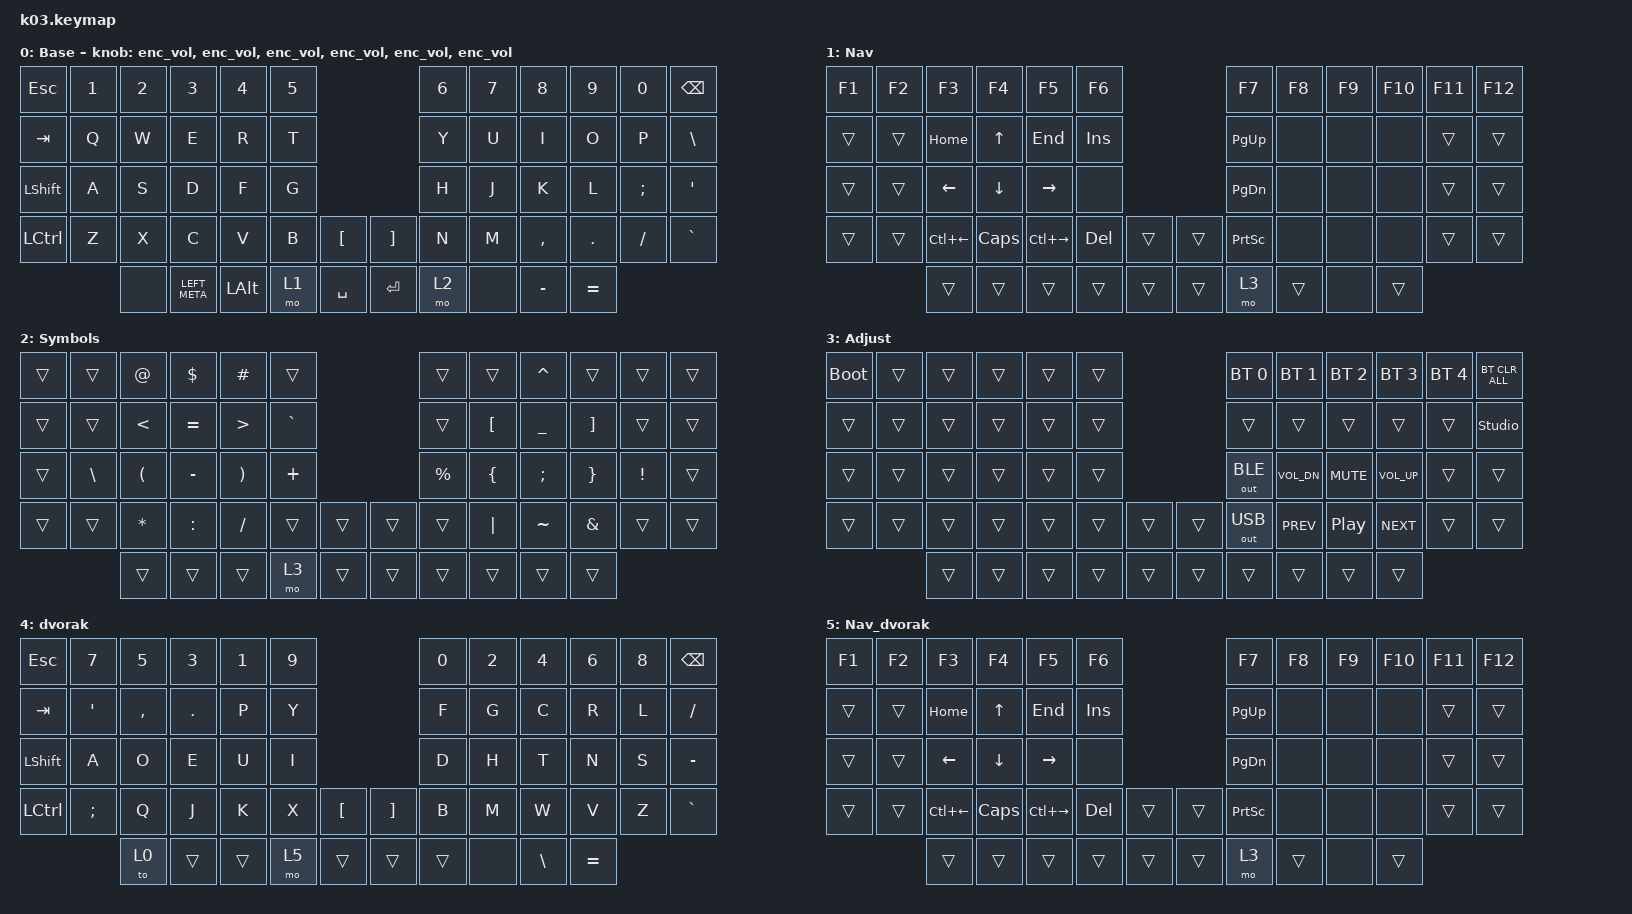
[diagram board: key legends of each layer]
#include "keys_ru.h"
#include <behaviors.dtsi>
#include <dt-bindings/zmk/bt.h>
#include <dt-bindings/zmk/keys.h>
#include <dt-bindings/zmk/outputs.h>

/ {
    behaviors {
        enc_vol: enc_vol {
            compatible = "zmk,behavior-sensor-rotate";
            label = "ENC_VOL";
            #sensor-binding-cells = <0>;
            bindings = <&kp C_VOL_UP>, <&kp C_VOL_DN>;
        };
    };

    keymap {
        compatible = "zmk,keymap";

        base {
            bindings = <
&kp ESC         &kp N1  &kp N2  &kp N3         &kp N4        &kp N5                          &kp N6  &kp N7  &kp N8     &kp N9     &kp N0    &kp BSPC
&kp TAB         &kp Q   &kp W   &kp E          &kp R         &kp T                           &kp Y   &kp U   &kp I      &kp O      &kp P     &kp BSLH
&kp LEFT_SHIFT  &kp A   &kp S   &kp D          &kp F         &kp G                           &kp H   &kp J   &kp K      &kp L      &kp SEMI  &kp SQT
&kp LCTRL       &kp Z   &kp X   &kp C          &kp V         &kp B   &kp LBKT     &kp RBKT   &kp N   &kp M   &kp COMMA  &kp DOT    &kp FSLH  &kp GRAVE
                        &none   &kp LEFT_META  &kp LEFT_ALT  &mo 1   &kp SPACE    &kp ENTER  &mo 2   &none   &kp MINUS  &kp EQUAL
            >;

            display-name = "Base";
            sensor-bindings =
                <&enc_vol>,
                <&enc_vol>,
                <&enc_vol>,
                <&enc_vol>,
                <&enc_vol>,
                <&enc_vol>;
        };

        nav {
            bindings = <
&kp F1  &kp F2  &kp F3        &kp F4    &kp F5         &kp F6                        &kp F7           &kp F8  &kp F9  &kp F10  &kp F11  &kp F12
&trans  &trans  &kp HOME      &kp UP    &kp END        &kp INS                       &kp PG_UP        &none   &none   &none    &trans   &trans
&trans  &trans  &kp LEFT      &kp DOWN  &kp RIGHT      &none                         &kp PG_DN        &none   &none   &none    &trans   &trans
&trans  &trans  &kp LC(LEFT)  &kp CAPS  &kp LC(RIGHT)  &kp DELETE  &trans    &trans  &kp PRINTSCREEN  &none   &none   &none    &trans   &trans
                &trans        &trans    &trans         &trans      &trans    &trans  &mo 3            &trans  &none   &trans
            >;

            display-name = "Nav";
        };

        sym {
            bindings = <
&trans  &trans    &kp AT    &kp DLLR   &kp HASH  &trans                       &trans     &trans    &kp CARET  &trans    &trans    &trans
&trans  &trans    &kp LT    &kp EQUAL  &kp GT    &kp GRAVE                    &trans     &kp LBKT  &kp UNDER  &kp RBKT  &trans    &trans
&trans  &kp BSLH  &kp LPAR  &kp MINUS  &kp RPAR  &kp PLUS                     &kp PRCNT  &kp LBRC  &kp SEMI   &kp RBRC  &kp EXCL  &trans
&trans  &trans    &kp STAR  &kp COLON  &kp FSLH  &trans     &trans    &trans  &trans     &kp PIPE  &kp TILDE  &kp AMPS  &trans    &trans
                  &trans    &trans     &trans    &mo 3      &trans    &trans  &trans     &trans    &trans     &trans
            >;

            display-name = "Symbols";
        };

        adj {
            bindings = <
&bootloader  &trans  &trans  &trans  &trans  &trans                    &bt BT_SEL 0  &bt BT_SEL 1  &bt BT_SEL 2      &bt BT_SEL 3  &bt BT_SEL 4  &bt BT_CLR_ALL
&trans       &trans  &trans  &trans  &trans  &trans                    &trans        &trans        &trans            &trans        &trans        &studio_unlock
&trans       &trans  &trans  &trans  &trans  &trans                    &out OUT_BLE  &kp C_VOL_DN  &kp C_MUTE        &kp C_VOL_UP  &trans        &trans
&trans       &trans  &trans  &trans  &trans  &trans  &trans    &trans  &out OUT_USB  &kp C_PREV    &kp C_PLAY_PAUSE  &kp C_NEXT    &trans        &trans
                     &trans  &trans  &trans  &trans  &trans    &trans  &trans        &trans        &trans            &trans
            >;

            display-name = "Adjust";
        };

        dvorak {
            bindings = <
&kp ESC    &kp N7    &kp N5     &kp N3   &kp N1  &kp N9                        &kp N0  &kp N2  &kp N4         &kp N6     &kp N8  &kp BSPC
&kp TAB    &kp SQT   &kp COMMA  &kp DOT  &kp P   &kp Y                         &kp F   &kp G   &kp C          &kp R      &kp L   &kp FSLH
&kp LSHFT  &kp A     &kp O      &kp E    &kp U   &kp I                         &kp D   &kp H   &kp T          &kp N      &kp S   &kp MINUS
&kp LCTRL  &kp SEMI  &kp Q      &kp J    &kp K   &kp X   &kp LBKT    &kp RBKT  &kp B   &kp M   &kp W          &kp V      &kp Z   &kp GRAVE
                     &to 0      &trans   &trans  &mo 5   &trans      &trans    &trans  &none   &kp BACKSLASH  &kp EQUAL
            >;
        };

        nav_dvorak {
            display-name = "Nav_dvorak";
            bindings = <
&kp F1  &kp F2  &kp F3        &kp F4    &kp F5         &kp F6                        &kp F7           &kp F8  &kp F9  &kp F10  &kp F11  &kp F12
&trans  &trans  &kp HOME      &kp UP    &kp END        &kp INS                       &kp PG_UP        &none   &none   &none    &trans   &trans
&trans  &trans  &kp LEFT      &kp DOWN  &kp RIGHT      &none                         &kp PG_DN        &none   &none   &none    &trans   &trans
&trans  &trans  &kp LC(LEFT)  &kp CAPS  &kp LC(RIGHT)  &kp DELETE  &trans    &trans  &kp PRINTSCREEN  &none   &none   &none    &trans   &trans
                &trans        &trans    &trans         &trans      &trans    &trans  &mo 3            &trans  &none   &trans
            >;
        };
    };
};
